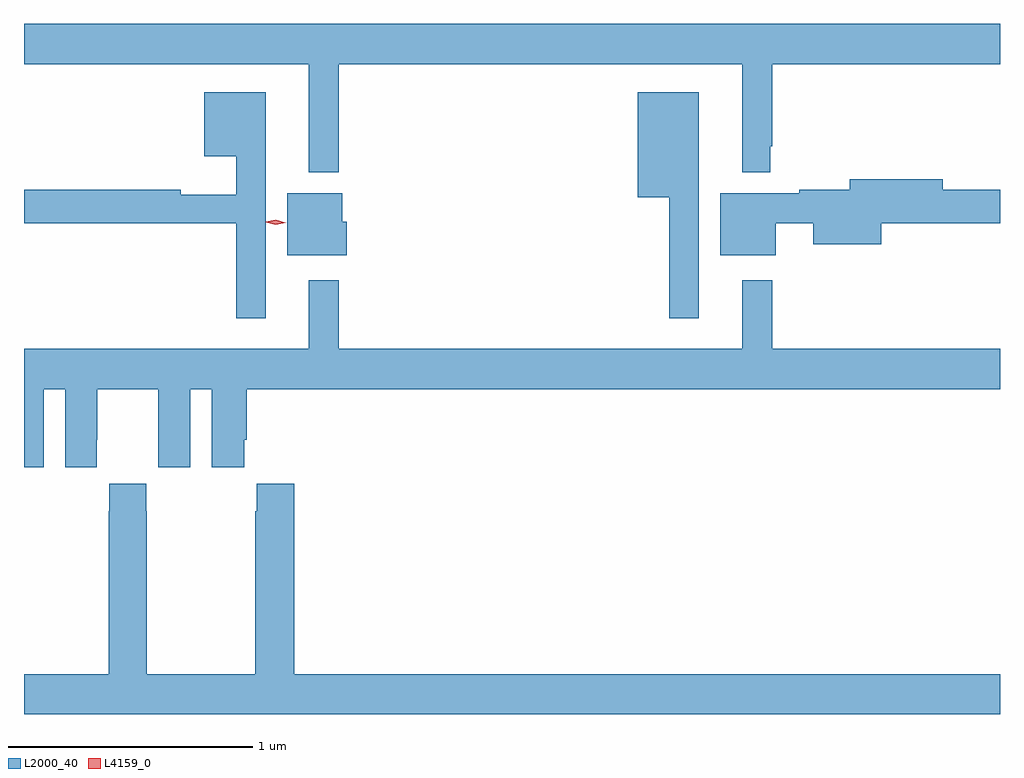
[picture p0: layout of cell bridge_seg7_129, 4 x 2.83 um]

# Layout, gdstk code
import gdstk
lib = gdstk.Library(unit=1e-6, precision=1e-09)
def P(c, l, *ps):  # polygons
    for p in ps: c.add(gdstk.Polygon(p, *l))
L2000_40 = (2000, 40)
L4159_0 = (4159, 0)

bridge_seg7_129 = lib.new_cell('bridge_seg7_129')
P(bridge_seg7_129, L2000_40, [(783.073,1004.612),(784.727,1004.612),(784.727,1004.168),(784.842,1004.168),(784.842,1004.275),(784.849,1004.275),(784.849,1004.612),(785.783,1004.612),(785.783,1004.776),(781.783,1004.776),(781.783,1004.612),(782.951,1004.612),(782.951,1004.168),(783.073,1004.168)],
  [(782.773,1004.497),(782.522,1004.497),(782.522,1004.234),(782.652,1004.234),(782.652,1004.077),(782.426,1004.077),(782.426,1004.096),(781.783,1004.096),(781.783,1003.96),(782.652,1003.96),(782.652,1003.569),(782.773,1003.569)],
  [(784.549,1004.497),(784.298,1004.497),(784.298,1004.066),(784.428,1004.066),(784.428,1003.569),(784.549,1003.569)],
  [(784.864,1003.96),(785.018,1003.96),(785.018,1003.874),(785.296,1003.874),(785.296,1003.96),(785.783,1003.96),(785.783,1004.096),(785.548,1004.096),(785.548,1004.139),(785.168,1004.139),(785.168,1004.096),(784.96,1004.096),(784.96,1004.083),(784.637,1004.083),(784.637,1003.829),(784.864,1003.829)],
  [(783.106,1003.965),(783.088,1003.965),(783.088,1004.083),(782.861,1004.083),(782.861,1003.829),(783.106,1003.829)],
  [(781.864,1003.28),(781.952,1003.28),(781.952,1002.96),(782.082,1002.96),(782.082,1003.072),(782.083,1003.072),(782.083,1003.28),(782.333,1003.28),(782.333,1003.072),(782.334,1003.072),(782.334,1002.96),(782.464,1002.96),(782.464,1003.28),(782.552,1003.28),(782.552,1002.96),(782.686,1002.96),(782.686,1003.072),(782.696,1003.072),(782.696,1003.28),(785.783,1003.28),(785.783,1003.444),(784.849,1003.444),(784.849,1003.726),(784.727,1003.726),(784.727,1003.444),(783.073,1003.444),(783.073,1003.726),(782.951,1003.726),(782.951,1003.444),(781.783,1003.444),(781.783,1002.96),(781.864,1002.96)],
  [(785.783,1002.112),(782.891,1002.112),(782.891,1002.892),(782.737,1002.892),(782.737,1002.779),(782.731,1002.779),(782.731,1002.112),(782.286,1002.112),(782.286,1002.779),(782.283,1002.779),(782.283,1002.892),(782.133,1002.892),(782.133,1002.779),(782.131,1002.779),(782.131,1002.112),(781.783,1002.112),(781.783,1001.948),(785.783,1001.948)])
P(bridge_seg7_129, L4159_0, [(782.814,1003.953),(782.774,1003.964),(782.774,1003.964),(782.774,1003.965),(782.815,1003.973),(782.855,1003.962),(782.855,1003.962),(782.855,1003.962)])

lib.write_gds('bridge_seg7_129.gds')
